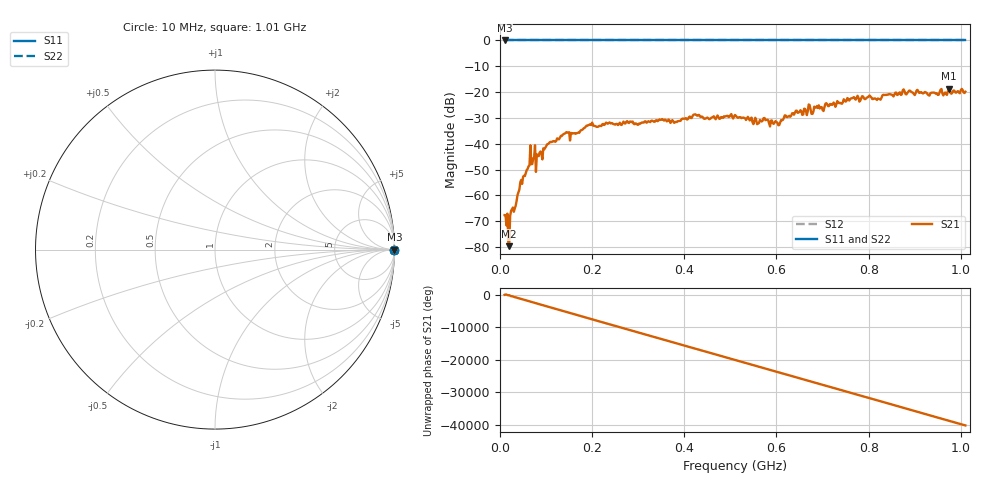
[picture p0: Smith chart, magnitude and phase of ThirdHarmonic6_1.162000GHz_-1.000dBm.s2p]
! 8/16/2025 11:40:08 AM
! C:\ANRITSUVNA\TEMP\TEMP.S2P
! CHANNEL.1
! TR.MEASUREMENT
! RAW.DATA
! RF.CORRECTION.OFF
! AVERAGING.OFF
! IF.BANDWIDTH: 5KHZ
! SWEEPTYPE:  FREQ.SWEEP(Linear)
! Reference Plane Port Info
! PORT:  PORT1  PORT2
! DISTANCE:  0  m  0  m
! TIME:  0  s  0  s
! PHASE.OFFSET:  0  deg.  0  deg.
! LOSS:  0  dB  0  dB
! REF.LOSS:  0  dB  0  dB
! REF.FREQ:  0  Hz  0  Hz
! Power Info
! POWER:  -20  dBm  -20  dBm
! EFF.POWER:  -20  dBm  -20  dBm
! SOURCE.ATTEN:  0  dB  0  dB
! TEST.ATTEN:  0  dB  0  dB
# GHZ S RI R 50.0
! FREQ.GHZ  S11RE  S11IM  S21RE  S21IM  S12RE  S12IM  S22RE  S22IM
!; PortSelection: Port_12
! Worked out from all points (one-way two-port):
!   501 points, 10 MHz to 1.01 GHz, reference 50 ohm
!   highest |S21| = -18.71 dB at 974 MHz (marker M1); lowest = -79.7 dB at 20 MHz (marker M2)
!   lowest |S11| = 0.0 dB at 10 MHz (marker M3)
!   |S11| at or under -10 dB: nowhere
!   |S22| runs from 0.0 to 0.0 dB; largest |S21 - S12| = 1.1
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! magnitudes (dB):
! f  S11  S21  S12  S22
! 10 MHz  0.0  -67.6  0.0  0.0
! 12 MHz  0.0  -67.6  0.0  0.0
! 16 MHz  0.0  -67.1  0.0  0.0
! 20 MHz  0.0  -79.7  0.0  0.0
! 26 MHz  0.0  -65.3  0.0  0.0
! 34 MHz  0.0  -64.1  0.0  0.0
! 42 MHz  0.0  -57.8  0.0  0.0
! 70 MHz  0.0  -47.9  0.0  0.0
! 82 MHz  0.0  -44.5  0.0  0.0
! 106 MHz  0.0  -39.9  0.0  0.0
! 140 MHz  0.0  -36.1  0.0  0.0
! 178 MHz  0.0  -34.7  0.0  0.0
! 196 MHz  0.0  -32.5  0.0  0.0
! 344 MHz  0.0  -31.0  0.0  0.0
! 510 MHz  0.0  -28.9  0.0  0.0
! 604 MHz  0.0  -32.8  0.0  0.0
! 640 MHz  0.0  -28.0  0.0  0.0
! 678 MHz  0.0  -28.5  0.0  0.0
! 764 MHz  0.0  -22.4  0.0  0.0
! 844 MHz  0.0  -20.8  0.0  0.0
! 974 MHz  0.0  -18.7  0.0  0.0
! 1.01 GHz  0.0  -19.9  0.0  0.0
